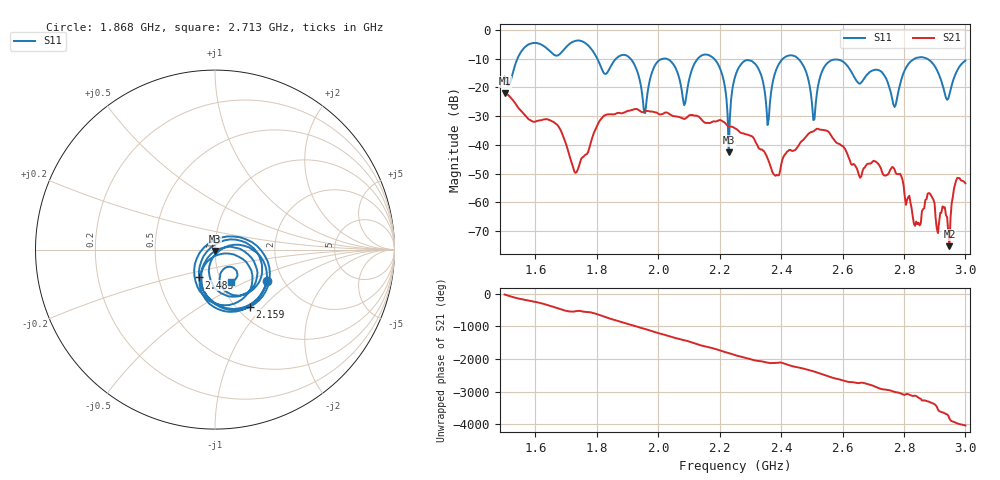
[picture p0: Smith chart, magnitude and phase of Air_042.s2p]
# HZ S RI R 50
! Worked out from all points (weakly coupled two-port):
!   404 points, 1.5 GHz to 3 GHz, reference 50 ohm
!   highest |S21| = -22.02 dB at 1.5 GHz (marker M1); lowest = -75.3 dB at 2.948 GHz (marker M2)
!   lowest |S11| = -42.6 dB at 2.23 GHz (marker M3), VSWR 1.02, Z = 50.2 - j0.731 ohm
!   |S11| at or under -10 dB: 2.182 GHz to 2.406 GHz (223.9 MHz wide, 9.76 % of centre); 2.456 GHz to 2.834 GHz (378.5 MHz wide, 14.3 % of centre); 2.875 GHz to end of sweep (the widest 3 of 7)
!   S12 and S22 are empty: the file has one direction only
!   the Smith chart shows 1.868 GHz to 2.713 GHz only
!   S11 on the Smith chart (normalised r, x): 1.868 GHz: 1.65, -0.65; 2.159 GHz: 1.15, -0.85; 2.483 GHz: 0.80, -0.26; 2.713 GHz: 1.11, -0.42
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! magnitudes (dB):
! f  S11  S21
! 1.5 GHz  -16.2  -22.0
! 1.753 GHz  -3.9  -44.4
! 1.868 GHz  -9.4  -28.9
! 1.958 GHz  -28.9  -28.3
! 2.002 GHz  -10.6  -29.3
! 2.084 GHz  -26.2  -31.0
! 2.159 GHz  -8.5  -32.3
! 2.203 GHz  -14.0  -31.4
! 2.23 GHz  -42.6  -33.5
! 2.252 GHz  -15.7  -34.3
! 2.315 GHz  -11.7  -38.5
! 2.356 GHz  -33.1  -44.7
! 2.386 GHz  -13.4  -50.5
! 2.483 GHz  -15.0  -36.9
! 2.501 GHz  -26.3  -35.4
! 2.561 GHz  -10.7  -36.3
! 2.713 GHz  -13.8  -46.3
! 2.751 GHz  -19.4  -49.9
! 2.859 GHz  -9.4  -63.1
! 2.948 GHz  -22.5  -75.3
! 2.97 GHz  -14.8  -52.3
! 3 GHz  -10.6  -53.4
